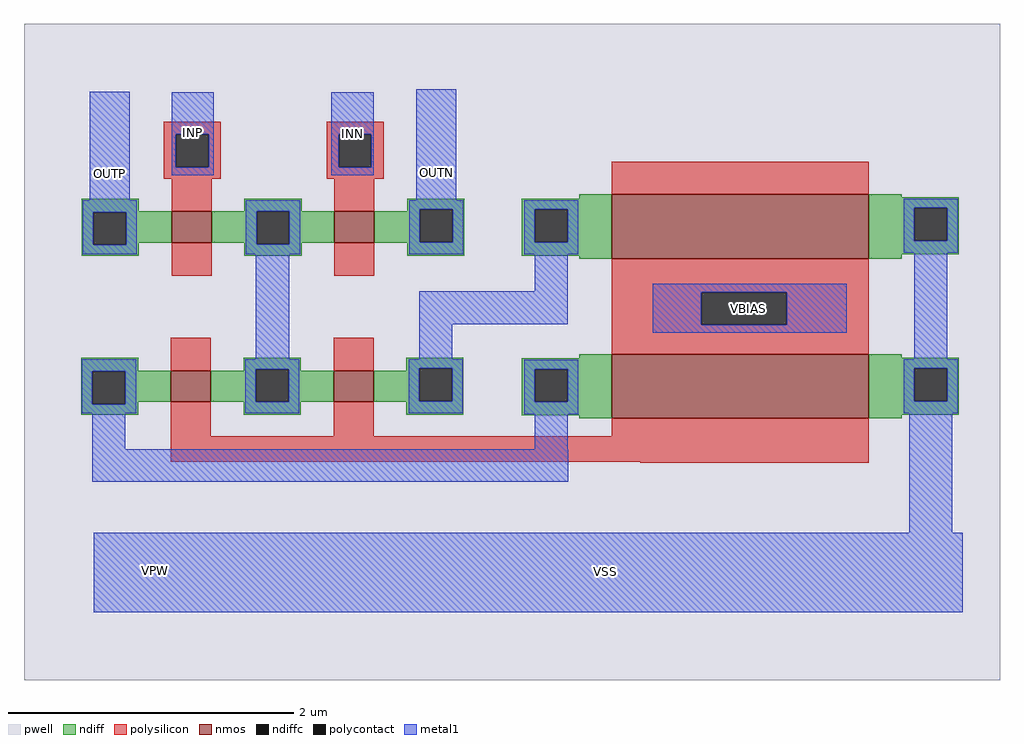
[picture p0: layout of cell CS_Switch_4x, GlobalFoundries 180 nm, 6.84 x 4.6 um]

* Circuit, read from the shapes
.subckt CS_Switch_4x INP INN OUTP OUTN VBIAS VSS VPW
XM1 n1 VBIAS n2 VPW nfet_03v3 w=0.22u l=0.28u
XM2 n1 INP OUTP VPW nfet_03v3 w=0.22u l=0.28u
XM3 n3 VBIAS n1 VPW nfet_03v3 w=0.22u l=0.28u
XM4 OUTN INN n1 VPW nfet_03v3 w=0.22u l=0.28u
XM5 VSS VBIAS n2 VPW nfet_03v3 w=0.45u l=1.8u
XM6 VSS VBIAS n3 VPW nfet_03v3 w=0.45u l=1.8u
.ends

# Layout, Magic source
magic
tech gf180mcuD
magscale 1 10
<< pwell >>
rect -376 -1440 992 -520
<< nmos >>
rect -169 -827 -113 -783
rect 59 -827 115 -783
rect 448 -849 808 -759
rect -170 -1050 -114 -1006
rect 58 -1050 114 -1006
rect 448 -1073 808 -983
<< ndiff >>
rect -295 -783 -215 -765
rect -67 -783 13 -765
rect 402 -765 448 -759
rect 161 -780 241 -765
rect 161 -783 179 -780
rect -295 -784 -169 -783
rect -295 -830 -279 -784
rect -233 -827 -169 -784
rect -113 -827 -50 -783
rect -233 -830 -215 -827
rect -295 -845 -215 -830
rect -67 -829 -50 -827
rect -4 -827 59 -783
rect 115 -826 179 -783
rect 225 -826 241 -780
rect 115 -827 241 -826
rect -4 -829 13 -827
rect -67 -845 13 -829
rect 161 -845 241 -827
rect 322 -780 448 -765
rect 322 -826 340 -780
rect 386 -826 448 -780
rect 322 -845 448 -826
rect 402 -849 448 -845
rect 808 -763 854 -759
rect 808 -778 934 -763
rect 808 -824 872 -778
rect 918 -824 934 -778
rect 808 -843 934 -824
rect 808 -849 854 -843
rect -296 -1006 -216 -988
rect -68 -1004 12 -988
rect -68 -1006 -51 -1004
rect -296 -1007 -170 -1006
rect -296 -1053 -280 -1007
rect -234 -1050 -170 -1007
rect -114 -1050 -51 -1006
rect -5 -1006 12 -1004
rect 160 -1003 240 -988
rect 402 -989 448 -983
rect 160 -1006 178 -1003
rect -5 -1050 58 -1006
rect 114 -1049 178 -1006
rect 224 -1049 240 -1003
rect 114 -1050 240 -1049
rect -234 -1053 -216 -1050
rect -296 -1068 -216 -1053
rect -68 -1068 12 -1050
rect 160 -1068 240 -1050
rect 322 -1004 448 -989
rect 322 -1050 340 -1004
rect 386 -1050 448 -1004
rect 322 -1069 448 -1050
rect 402 -1073 448 -1069
rect 808 -988 854 -983
rect 808 -1003 934 -988
rect 808 -1049 872 -1003
rect 918 -1049 934 -1003
rect 808 -1068 934 -1049
rect 808 -1073 854 -1068
<< ndiffc >>
rect -279 -830 -233 -784
rect -50 -829 -4 -783
rect 179 -826 225 -780
rect 340 -826 386 -780
rect 872 -824 918 -778
rect -280 -1053 -234 -1007
rect -51 -1050 -5 -1004
rect 178 -1049 224 -1003
rect 340 -1050 386 -1004
rect 872 -1049 918 -1003
<< polysilicon >>
rect -180 -675 -100 -657
rect -180 -721 -163 -675
rect -117 -721 -100 -675
rect -180 -737 -100 -721
rect 48 -675 128 -657
rect 48 -721 65 -675
rect 111 -721 128 -675
rect 48 -737 128 -721
rect -169 -783 -113 -737
rect 59 -783 115 -737
rect 448 -759 808 -713
rect -169 -873 -113 -827
rect 59 -873 115 -827
rect 448 -896 808 -849
rect 448 -942 573 -896
rect 693 -942 808 -896
rect -170 -1006 -114 -960
rect 58 -1006 114 -960
rect 448 -983 808 -942
rect -170 -1098 -114 -1050
rect 58 -1098 114 -1050
rect 448 -1098 808 -1073
rect -170 -1134 808 -1098
rect 488 -1135 808 -1134
<< polycontact >>
rect -163 -721 -117 -675
rect 65 -721 111 -675
rect 573 -942 693 -896
<< metal1 >>
rect -284 -767 -228 -615
rect -169 -675 -110 -616
rect -169 -721 -163 -675
rect -117 -721 -110 -675
rect -169 -732 -110 -721
rect 55 -675 114 -616
rect 55 -721 65 -675
rect 111 -721 114 -675
rect 55 -732 114 -721
rect 174 -767 230 -612
rect -294 -784 -218 -767
rect -294 -830 -279 -784
rect -233 -830 -218 -784
rect -294 -843 -218 -830
rect -65 -783 11 -767
rect -65 -829 -50 -783
rect -4 -829 11 -783
rect -65 -843 11 -829
rect 164 -780 240 -767
rect 164 -826 179 -780
rect 225 -826 240 -780
rect 164 -843 240 -826
rect 325 -780 401 -767
rect 325 -826 340 -780
rect 386 -826 401 -780
rect 325 -843 401 -826
rect 857 -778 933 -765
rect 857 -824 872 -778
rect 918 -824 933 -778
rect 857 -841 933 -824
rect -51 -990 -4 -843
rect 340 -895 386 -843
rect 178 -941 386 -895
rect 505 -896 777 -884
rect 178 -990 224 -941
rect 505 -942 573 -896
rect 693 -942 777 -896
rect 505 -953 777 -942
rect 872 -990 918 -841
rect -295 -1007 -219 -990
rect -295 -1053 -280 -1007
rect -234 -1053 -219 -1007
rect -295 -1066 -219 -1053
rect -66 -1004 10 -990
rect -66 -1050 -51 -1004
rect -5 -1050 10 -1004
rect -66 -1066 10 -1050
rect 163 -1003 239 -990
rect 163 -1049 178 -1003
rect 224 -1049 239 -1003
rect 163 -1066 239 -1049
rect 325 -1004 401 -991
rect 325 -1050 340 -1004
rect 386 -1050 401 -1004
rect -280 -1116 -234 -1066
rect 325 -1067 401 -1050
rect 857 -1003 933 -990
rect 857 -1049 872 -1003
rect 918 -1049 933 -1003
rect 857 -1066 933 -1049
rect 340 -1116 386 -1067
rect -280 -1162 387 -1116
rect 865 -1233 925 -1066
rect -278 -1345 940 -1233
<< labels >>
flabel metal1 -165 -724 -116 -622 1 FreeSans 400 0 0 0 INP
port 1 nsew signal input
flabel metal1 60 -725 109 -623 1 FreeSans 400 0 0 0 INN
port 2 nsew signal input
flabel metal1 -282 -834 -231 -626 1 FreeSans 400 0 0 0 OUTP
port 3 nsew power bidirectional
flabel metal1 177 -832 228 -624 1 FreeSans 400 0 0 0 OUTN
port 4 nsew power bidirectional
flabel metal1 533 -947 747 -890 1 FreeSans 560 0 0 0 VBIAS
port 5 nsew power bidirectional
flabel metal1 333 -1335 545 -1241 1 FreeSans 400 0 0 0 VSS
port 6 nsew ground bidirectional
flabel pwell -265 -1329 -118 -1244 1 FreeSans 368 0 0 0 VPW
port 7 nsew ground bidirectional
<< end >>
